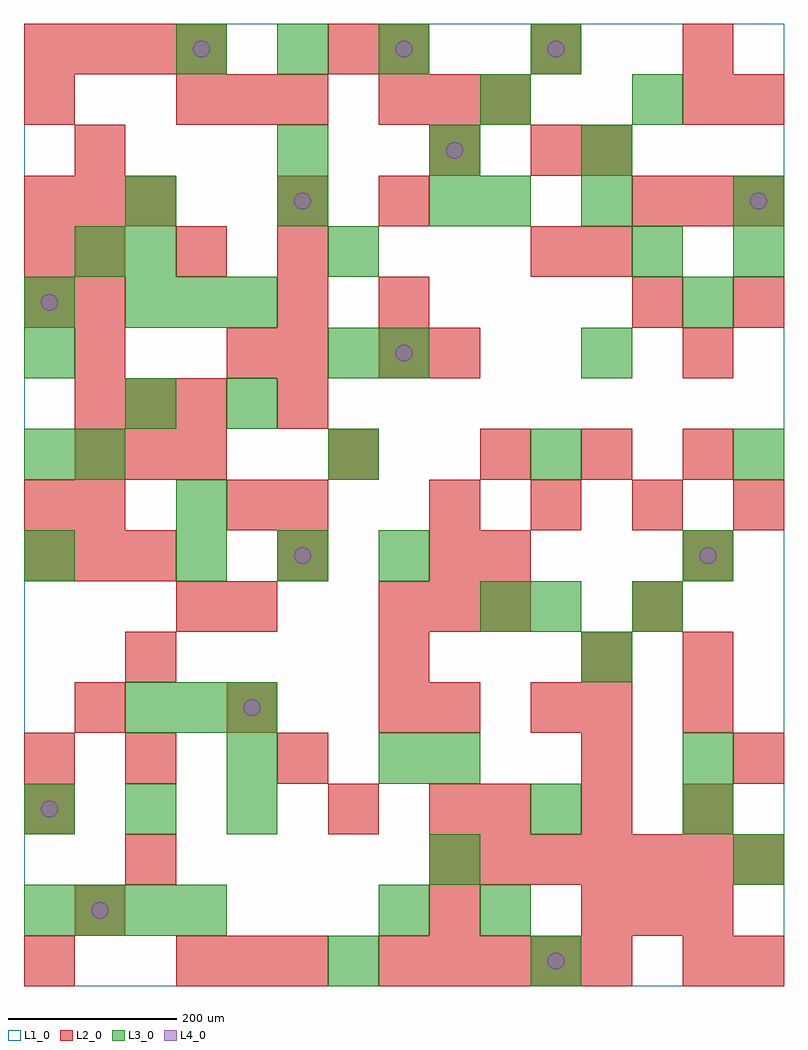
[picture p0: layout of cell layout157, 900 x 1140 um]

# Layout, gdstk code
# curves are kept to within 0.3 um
import gdstk
lib = gdstk.Library(unit=1e-6, precision=1e-09)
def R(c, l, rs):  # rectangles x0, y0, x1, y1
    for r in rs: c.add(gdstk.rectangle(r[:2], r[2:], *l))
def A(c, l, x, y, w, h, nx, ny, dx, dy):  # array of equal rectangles
    R(c, l, [(x+i*dx, y+j*dy, x+i*dx+w, y+j*dy+h) for i in range(nx) for j in range(ny)])
def P(c, l, *ps):  # polygons
    for p in ps: c.add(gdstk.Polygon(p, *l))
L1_0 = (1, 0)
L2_0 = (2, 0)
L3_0 = (3, 0)
L4_0 = (4, 0)

layout157 = lib.new_cell('layout157')
R(layout157, L1_0, [(0,0,900,1140)])
A(layout157, L2_0, 180, 0, 60, 60, 3, 2, 60, 1020)
A(layout157, L2_0, 420, 0, 60, 60, 5, 1, 60, 0)
A(layout157, L2_0, 480, 60, 60, 60, 1, 3, 0, 120)
A(layout157, L2_0, 660, 60, 60, 60, 3, 1, 60, 0)
A(layout157, L2_0, 120, 120, 60, 60, 1, 3, 0, 120)
A(layout157, L2_0, 480, 120, 60, 60, 7, 1, 60, 0)
A(layout157, L2_0, 540, 180, 60, 60, 3, 2, 120, 420)
A(layout157, L2_0, 660, 240, 60, 60, 1, 3, 0, 60)
A(layout157, L2_0, 60, 300, 60, 60, 3, 1, 180, 0)
A(layout157, L2_0, 420, 420, 60, 60, 3, 2, 60, 600)
A(layout157, L2_0, 0, 480, 60, 60, 3, 2, 60, 420)
A(layout157, L2_0, 480, 480, 60, 60, 1, 3, 0, 240)
A(layout157, L2_0, 480, 540, 60, 60, 4, 1, 120, 0)
A(layout157, L2_0, 60, 600, 60, 60, 3, 2, 60, 60)
A(layout157, L2_0, 300, 660, 60, 60, 1, 3, 0, 60)
A(layout157, L2_0, 60, 840, 60, 60, 3, 1, 120, 0)
A(layout157, L2_0, 720, 900, 60, 60, 3, 1, 60, 0)
A(layout157, L2_0, 0, 1080, 60, 60, 4, 1, 60, 0)
A(layout157, L2_0, 420, 1080, 60, 60, 3, 1, 180, 0)
R(layout157, L2_0, [(0,0,60,60), (780,0,840,60), (840,0,900,60), (60,60,120,120), (0,180,60,240), (360,180,420,240), (0,240,60,300), (300,240,360,300), (840,240,900,300), (600,300,660,360), (780,300,840,360), (420,360,480,420), (780,360,840,420), (180,420,240,480), (240,420,300,480), (720,420,780,480), (300,480,360,540), (540,480,600,540), (780,480,840,540), (0,540,60,600), (60,540,120,600), (240,540,300,600), (300,540,360,600), (360,600,420,660), (60,720,120,780), (240,720,300,780), (420,720,480,780), (780,720,840,780), (0,780,60,840), (60,780,120,840), (420,780,480,840), (720,780,780,840), (840,780,900,840), (0,840,60,900), (600,840,660,900), (660,840,720,900), (300,900,360,960), (420,900,480,960), (60,960,120,1020), (600,960,660,1020), (660,960,720,1020), (0,1020,60,1080), (780,1020,840,1080), (840,1020,900,1080), (360,1080,420,1140)])
A(layout157, L3_0, 0, 60, 60, 60, 4, 1, 60, 0)
A(layout157, L3_0, 0, 180, 60, 60, 3, 1, 120, 0)
A(layout157, L3_0, 120, 300, 60, 60, 3, 2, 60, 480)
A(layout157, L3_0, 0, 480, 60, 60, 1, 3, 0, 120)
A(layout157, L3_0, 180, 480, 60, 60, 3, 2, 120, 600)
A(layout157, L3_0, 360, 600, 60, 60, 3, 1, 240, 0)
A(layout157, L3_0, 120, 900, 60, 60, 3, 1, 180, 0)
A(layout157, L3_0, 300, 960, 60, 60, 3, 1, 180, 0)
R(layout157, L3_0, [(360,0,420,60), (600,0,660,60), (420,60,480,120), (540,60,600,120), (480,120,540,180), (840,120,900,180), (600,180,660,240), (780,180,840,240), (240,240,300,300), (420,240,480,300), (480,240,540,300), (780,240,840,300), (660,360,720,420), (540,420,600,480), (600,420,660,480), (720,420,780,480), (780,480,840,540), (180,540,240,600), (60,600,120,660), (120,660,180,720), (240,660,300,720), (360,720,420,780), (420,720,480,780), (660,720,720,780), (0,780,60,840), (780,780,840,840), (60,840,120,900), (120,840,180,900), (360,840,420,900), (720,840,780,900), (840,840,900,900), (540,900,600,960), (660,900,720,960), (840,900,900,960), (540,1020,600,1080), (720,1020,780,1080), (600,1080,660,1140)])
P(layout157, L4_0, [(40,210),(39.239,213.827),(37.071,217.071),(33.827,219.239),(30,220),(26.173,219.239),(22.929,217.071),(20.761,213.827),(20,210),(20.761,206.173),(22.929,202.929),(26.173,200.761),(30,200),(33.827,200.761),(37.071,202.929),(39.239,206.173)],
  [(40,810),(39.239,813.827),(37.071,817.071),(33.827,819.239),(30,820),(26.173,819.239),(22.929,817.071),(20.761,813.827),(20,810),(20.761,806.173),(22.929,802.929),(26.173,800.761),(30,800),(33.827,800.761),(37.071,802.929),(39.239,806.173)],
  [(100,90),(99.239,93.827),(97.071,97.071),(93.827,99.239),(90,100),(86.173,99.239),(82.929,97.071),(80.761,93.827),(80,90),(80.761,86.173),(82.929,82.929),(86.173,80.761),(90,80),(93.827,80.761),(97.071,82.929),(99.239,86.173)],
  [(220,1110),(219.239,1113.827),(217.071,1117.071),(213.827,1119.239),(210,1120),(206.173,1119.239),(202.929,1117.071),(200.761,1113.827),(200,1110),(200.761,1106.173),(202.929,1102.929),(206.173,1100.761),(210,1100),(213.827,1100.761),(217.071,1102.929),(219.239,1106.173)],
  [(280,330),(279.239,333.827),(277.071,337.071),(273.827,339.239),(270,340),(266.173,339.239),(262.929,337.071),(260.761,333.827),(260,330),(260.761,326.173),(262.929,322.929),(266.173,320.761),(270,320),(273.827,320.761),(277.071,322.929),(279.239,326.173)],
  [(340,510),(339.239,513.827),(337.071,517.071),(333.827,519.239),(330,520),(326.173,519.239),(322.929,517.071),(320.761,513.827),(320,510),(320.761,506.173),(322.929,502.929),(326.173,500.761),(330,500),(333.827,500.761),(337.071,502.929),(339.239,506.173)],
  [(340,930),(339.239,933.827),(337.071,937.071),(333.827,939.239),(330,940),(326.173,939.239),(322.929,937.071),(320.761,933.827),(320,930),(320.761,926.173),(322.929,922.929),(326.173,920.761),(330,920),(333.827,920.761),(337.071,922.929),(339.239,926.173)],
  [(460,750),(459.239,753.827),(457.071,757.071),(453.827,759.239),(450,760),(446.173,759.239),(442.929,757.071),(440.761,753.827),(440,750),(440.761,746.173),(442.929,742.929),(446.173,740.761),(450,740),(453.827,740.761),(457.071,742.929),(459.239,746.173)],
  [(460,1110),(459.239,1113.827),(457.071,1117.071),(453.827,1119.239),(450,1120),(446.173,1119.239),(442.929,1117.071),(440.761,1113.827),(440,1110),(440.761,1106.173),(442.929,1102.929),(446.173,1100.761),(450,1100),(453.827,1100.761),(457.071,1102.929),(459.239,1106.173)],
  [(520,990),(519.239,993.827),(517.071,997.071),(513.827,999.239),(510,1000),(506.173,999.239),(502.929,997.071),(500.761,993.827),(500,990),(500.761,986.173),(502.929,982.929),(506.173,980.761),(510,980),(513.827,980.761),(517.071,982.929),(519.239,986.173)],
  [(640,30),(639.239,33.827),(637.071,37.071),(633.827,39.239),(630,40),(626.173,39.239),(622.929,37.071),(620.761,33.827),(620,30),(620.761,26.173),(622.929,22.929),(626.173,20.761),(630,20),(633.827,20.761),(637.071,22.929),(639.239,26.173)],
  [(640,1110),(639.239,1113.827),(637.071,1117.071),(633.827,1119.239),(630,1120),(626.173,1119.239),(622.929,1117.071),(620.761,1113.827),(620,1110),(620.761,1106.173),(622.929,1102.929),(626.173,1100.761),(630,1100),(633.827,1100.761),(637.071,1102.929),(639.239,1106.173)],
  [(820,510),(819.239,513.827),(817.071,517.071),(813.827,519.239),(810,520),(806.173,519.239),(802.929,517.071),(800.761,513.827),(800,510),(800.761,506.173),(802.929,502.929),(806.173,500.761),(810,500),(813.827,500.761),(817.071,502.929),(819.239,506.173)],
  [(880,930),(879.239,933.827),(877.071,937.071),(873.827,939.239),(870,940),(866.173,939.239),(862.929,937.071),(860.761,933.827),(860,930),(860.761,926.173),(862.929,922.929),(866.173,920.761),(870,920),(873.827,920.761),(877.071,922.929),(879.239,926.173)])

lib.write_gds('layout157.gds')
